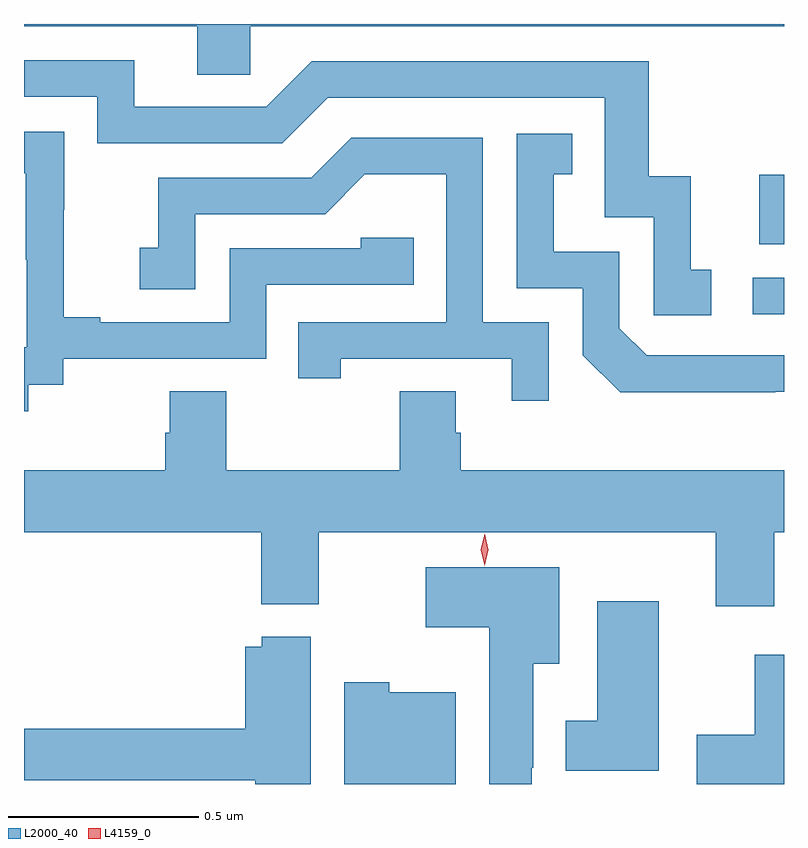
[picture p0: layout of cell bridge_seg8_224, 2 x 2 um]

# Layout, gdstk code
import gdstk
lib = gdstk.Library(unit=1e-6, precision=1e-09)
def R(c, l, rs):  # rectangles x0, y0, x1, y1
    for r in rs: c.add(gdstk.rectangle(r[:2], r[2:], *l))
def P(c, l, *ps):  # polygons
    for p in ps: c.add(gdstk.Polygon(p, *l))
L2000_40 = (2000, 40)
L4159_0 = (4159, 0)

bridge_seg8_224 = lib.new_cell('bridge_seg8_224')
R(bridge_seg8_224, L2000_40, [(132.027,1125.066,132.109,1125.162), (132.044,1125.251,132.109,1125.433)])
P(bridge_seg8_224, L2000_40, [(130.704,1125.824),(132.109,1125.824),(132.109,1125.83),(130.109,1125.83),(130.109,1125.824),(130.565,1125.824),(130.565,1125.697),(130.704,1125.697)],
  [(131.917,1125.183),(131.864,1125.183),(131.864,1125.43),(131.753,1125.43),(131.753,1125.732),(130.866,1125.732),(130.746,1125.612),(130.399,1125.612),(130.399,1125.735),(130.109,1125.735),(130.109,1125.639),(130.302,1125.639),(130.302,1125.516),(130.788,1125.516),(130.908,1125.636),(131.637,1125.636),(131.637,1125.321),(131.766,1125.321),(131.766,1125.063),(131.917,1125.063)],
  [(130.12,1124.881),(130.212,1124.881),(130.212,1124.949),(130.746,1124.949),(130.746,1125.144),(131.135,1125.144),(131.135,1125.267),(130.995,1125.267),(130.995,1125.24),(130.65,1125.24),(130.65,1125.045),(130.309,1125.045),(130.309,1125.058),(130.214,1125.058),(130.214,1125.341),(130.215,1125.341),(130.215,1125.547),(130.109,1125.547),(130.109,1125.437),(130.114,1125.437),(130.114,1125.209),(130.116,1125.209),(130.116,1124.979),(130.109,1124.979),(130.109,1124.811),(130.12,1124.811)],
  [(132.086,1124.862),(132.109,1124.862),(132.109,1124.958),(131.748,1124.958),(131.676,1125.03),(131.676,1125.231),(131.503,1125.231),(131.503,1125.435),(131.552,1125.435),(131.552,1125.541),(131.406,1125.541),(131.406,1125.135),(131.58,1125.135),(131.58,1124.958),(131.678,1124.861),(132.086,1124.861)],
  [(131.49,1125.045),(131.316,1125.045),(131.316,1125.531),(130.97,1125.531),(130.865,1125.426),(130.462,1125.426),(130.462,1125.241),(130.413,1125.241),(130.413,1125.132),(130.56,1125.132),(130.56,1125.33),(130.902,1125.33),(131.006,1125.434),(131.22,1125.434),(131.22,1125.045),(130.831,1125.045),(130.831,1124.898),(130.942,1124.898),(130.942,1124.949),(131.393,1124.949),(131.393,1124.838),(131.49,1124.838)],
  [(131.098,1124.864),(131.098,1124.656),(130.641,1124.656),(130.641,1124.864),(130.493,1124.864),(130.493,1124.754),(130.481,1124.754),(130.481,1124.656),(130.109,1124.656),(130.109,1124.492),(130.733,1124.492),(130.733,1124.303),(130.885,1124.303),(130.885,1124.492),(131.93,1124.492),(131.93,1124.298),(132.083,1124.298),(132.083,1124.492),(132.109,1124.492),(132.109,1124.656),(131.258,1124.656),(131.258,1124.754),(131.245,1124.754),(131.245,1124.864)],
  [(131.445,1123.873),(131.449,1123.873),(131.449,1124.147),(131.518,1124.147),(131.518,1124.401),(131.166,1124.401),(131.166,1124.243),(131.333,1124.243),(131.333,1123.83),(131.445,1123.83)],
  [(131.779,1124.311),(131.618,1124.311),(131.618,1123.996),(131.534,1123.996),(131.534,1123.865),(131.779,1123.865)],
  [(130.864,1124.218),(130.734,1124.218),(130.734,1124.191),(130.691,1124.191),(130.691,1123.976),(130.109,1123.976),(130.109,1123.84),(130.718,1123.84),(130.718,1123.83),(130.864,1123.83)],
  [(132.109,1124.17),(132.032,1124.17),(132.032,1123.959),(131.88,1123.959),(131.88,1123.83),(132.109,1123.83)],
  [(131.245,1124.071),(131.07,1124.071),(131.07,1124.098),(130.952,1124.098),(130.952,1123.83),(131.245,1123.83)])
P(bridge_seg8_224, L4159_0, [(131.322,1124.405),(131.322,1124.406),(131.311,1124.447),(131.321,1124.488),(131.321,1124.488),(131.321,1124.488),(131.331,1124.447),(131.322,1124.406)])

lib.write_gds('bridge_seg8_224.gds')
